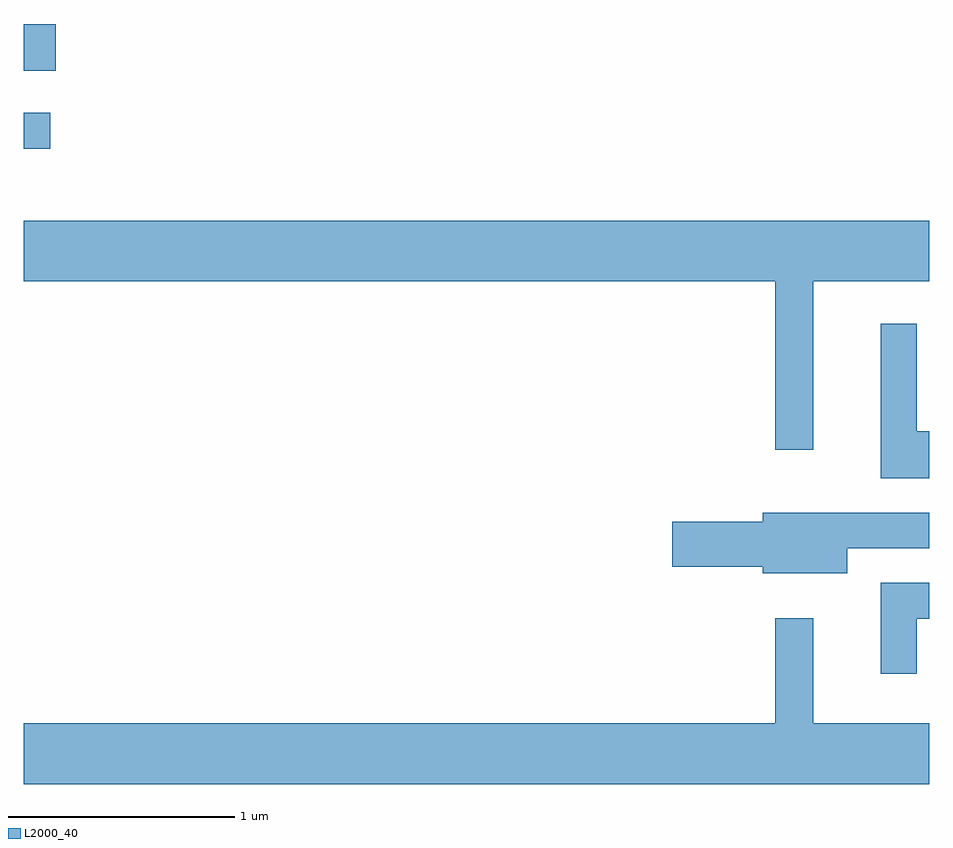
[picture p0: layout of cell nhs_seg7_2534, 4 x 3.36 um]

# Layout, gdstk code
import gdstk
lib = gdstk.Library(unit=1e-6, precision=1e-09)
def R(c, l, rs):  # rectangles x0, y0, x1, y1
    for r in rs: c.add(gdstk.rectangle(r[:2], r[2:], *l))
def P(c, l, *ps):  # polygons
    for p in ps: c.add(gdstk.Polygon(p, *l))
L2000_40 = (2000, 40)

nhs_seg7_2534 = lib.new_cell('nhs_seg7_2534')
R(nhs_seg7_2534, L2000_40, [(261.611,1803.701,261.728,1803.859), (261.611,1804.046,261.754,1804.252)])
P(nhs_seg7_2534, L2000_40, [(265.099,1803.116),(265.611,1803.116),(265.611,1803.384),(261.611,1803.384),(261.611,1803.116),(264.931,1803.116),(264.931,1802.373),(265.099,1802.373)],
  [(265.611,1802.454),(265.554,1802.454),(265.554,1802.928),(265.396,1802.928),(265.396,1802.246),(265.611,1802.246)],
  [(265.249,1801.936),(265.611,1801.936),(265.611,1802.094),(264.876,1802.094),(264.876,1802.054),(264.476,1802.054),(264.476,1801.856),(264.876,1801.856),(264.876,1801.826),(265.249,1801.826)],
  [(265.554,1801.626),(265.611,1801.626),(265.611,1801.784),(265.396,1801.784),(265.396,1801.383),(265.554,1801.383)],
  [(265.611,1801.164),(265.099,1801.164),(265.099,1801.628),(264.931,1801.628),(264.931,1801.164),(261.611,1801.164),(261.611,1800.896),(265.611,1800.896)])

lib.write_gds('nhs_seg7_2534.gds')
